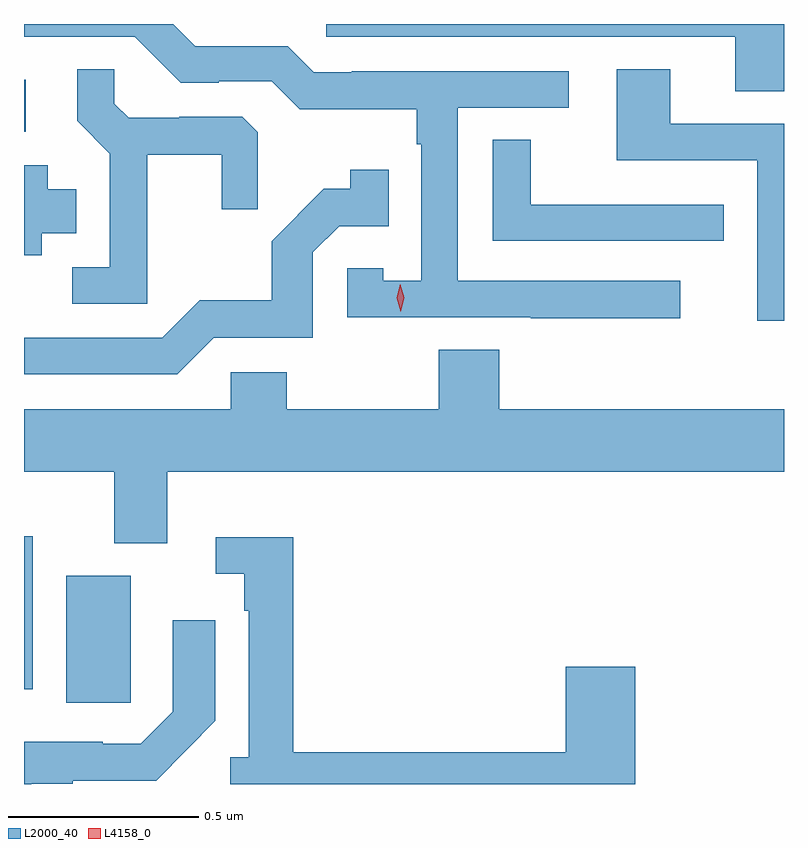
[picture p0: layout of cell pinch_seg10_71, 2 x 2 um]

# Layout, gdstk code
import gdstk
lib = gdstk.Library(unit=1e-6, precision=1e-09)
def R(c, l, rs):  # rectangles x0, y0, x1, y1
    for r in rs: c.add(gdstk.rectangle(r[:2], r[2:], *l))
def P(c, l, *ps):  # polygons
    for p in ps: c.add(gdstk.Polygon(p, *l))
L2000_40 = (2000, 40)
L4158_0 = (4158, 0)

pinch_seg10_71 = lib.new_cell('pinch_seg10_71')
R(pinch_seg10_71, L2000_40, [(832.016,1317.024,832.186,1317.358), (831.905,1317.06,831.928,1317.462), (831.905,1318.527,831.91,1318.663)])
P(pinch_seg10_71, L2000_40, [(833.905,1318.81),(832.701,1318.81),(832.701,1318.776),(833.777,1318.776),(833.777,1318.633),(833.905,1318.633)],
  [(833.632,1318.134),(833.046,1318.134),(833.046,1318.59),(833.338,1318.59),(833.338,1318.686),(832.768,1318.686),(832.768,1318.683),(832.668,1318.683),(832.599,1318.752),(832.356,1318.752),(832.298,1318.81),(831.905,1318.81),(831.905,1318.776),(832.197,1318.776),(832.317,1318.656),(832.418,1318.656),(832.418,1318.659),(832.557,1318.659),(832.63,1318.586),(832.938,1318.586),(832.938,1318.493),(832.95,1318.493),(832.95,1318.135),(832.851,1318.135),(832.851,1318.167),(832.755,1318.167),(832.755,1318.038),(833.239,1318.038),(833.239,1318.036),(833.632,1318.036)],
  [(832.229,1318.466),(832.426,1318.466),(832.426,1318.323),(832.52,1318.323),(832.52,1318.525),(832.479,1318.566),(832.314,1318.566),(832.314,1318.563),(832.18,1318.563),(832.143,1318.6),(832.143,1318.691),(832.045,1318.691),(832.045,1318.555),(832.131,1318.469),(832.131,1318.17),(832.032,1318.17),(832.032,1318.074),(832.229,1318.074)],
  [(833.905,1318.548),(833.605,1318.548),(833.605,1318.691),(833.465,1318.691),(833.465,1318.452),(833.835,1318.452),(833.835,1318.029),(833.905,1318.029)],
  [(833.746,1318.334),(833.633,1318.334),(833.633,1318.335),(833.238,1318.335),(833.238,1318.505),(833.139,1318.505),(833.139,1318.239),(833.746,1318.239)],
  [(831.952,1318.259),(832.042,1318.259),(832.042,1318.375),(831.967,1318.375),(831.967,1318.438),(831.905,1318.438),(831.905,1318.202),(831.952,1318.202)],
  [(832.404,1317.984),(832.665,1317.984),(832.665,1318.209),(832.734,1318.278),(832.865,1318.278),(832.865,1318.426),(832.764,1318.426),(832.764,1318.376),(832.694,1318.376),(832.557,1318.238),(832.557,1318.083),(832.368,1318.083),(832.269,1317.984),(831.905,1317.984),(831.905,1317.888),(832.308,1317.888)],
  [(832.282,1317.632),(833.905,1317.632),(833.905,1317.796),(833.156,1317.796),(833.156,1317.953),(832.996,1317.953),(832.996,1317.796),(832.596,1317.796),(832.596,1317.894),(832.449,1317.894),(832.449,1317.796),(831.905,1317.796),(831.905,1317.632),(832.142,1317.632),(832.142,1317.443),(832.282,1317.443)],
  [(833.513,1317.118),(833.33,1317.118),(833.33,1316.894),(832.613,1316.894),(832.613,1317.46),(832.41,1317.46),(832.41,1317.363),(832.485,1317.363),(832.485,1317.266),(832.497,1317.266),(832.497,1316.88),(832.448,1316.88),(832.448,1316.81),(833.513,1316.81)],
  [(831.925,1316.811),(832.033,1316.811),(832.033,1316.819),(832.253,1316.819),(832.335,1316.901),(832.334,1316.902),(832.408,1316.976),(832.408,1317.241),(832.296,1317.241),(832.296,1317),(832.212,1316.916),(832.112,1316.916),(832.112,1316.921),(831.905,1316.921),(831.905,1316.81),(831.924,1316.81)])
P(pinch_seg10_71, L4158_0, [(832.897,1318.053),(832.897,1318.053),(832.886,1318.089),(832.895,1318.125),(832.895,1318.125),(832.895,1318.125),(832.906,1318.09),(832.897,1318.053)])

lib.write_gds('pinch_seg10_71.gds')
